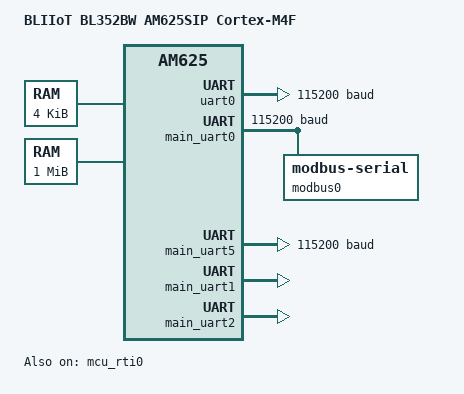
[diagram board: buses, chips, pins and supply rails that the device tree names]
/*
 * Copyright (c) 2026 Chrispine Tinega <chrispinetinega@gmail.com>
 *
 * SPDX-License-Identifier: Apache-2.0
 */

/dts-v1/;

#include <ti/am62x_m4.dtsi>
#include "am62x_m4_bl350_am6234_m4-pinctrl.dtsi"

/ {
	model = "BLIIoT BL352BW AM625SIP Cortex-M4F";
	compatible = "bliiot,am62x-m4-bl350", "ti,am625";

	chosen {
		zephyr,sram       = &ddr1;
		zephyr,flash      = &ddr0;
		zephyr,console    = &uart0;
		zephyr,shell-uart = &uart0;
		zephyr,ipc_shm    = &ipc_carveout;
		zephyr,ipc        = &ipc0;
	};

	rsc_table: memory@9ce00000 {
		compatible = "zephyr,memory-region", "mmio-sram";
		reg = <0x9ce00000 DT_SIZE_K(4)>;
		zephyr,memory-region = "RSC_TABLE";
	};

	ddr0: memory@9ce01000 {
		compatible = "mmio-sram";
		reg = <0x9ce01000 (DT_SIZE_M(1) - DT_SIZE_K(4))>;
	};

	ddr1: memory@9cf00000 {
		compatible = "mmio-sram";
		reg = <0x9cf00000 DT_SIZE_M(1)>;
	};

	reserved-memory {
		#address-cells = <1>;
		#size-cells = <1>;
		ranges;

		ipc_carveout: ipc@9c800000 {
			compatible = "shared-dma-pool";
			reg = <0x9C800000 0x400000>; /* 4 MB */
			no-map;
		};

		m4f-trace@9cc00000 {
			reg = <0x9CC00000 0x100000>; /* 1 MB */
			no-map;
		};
	};

	ipc0: ipc {
		compatible = "zephyr,ipc-openamp-static-vrings";
		memory-region = <&ipc_carveout>;
		mboxes = <&mbox0 0>, <&mbox0 1>;
		mbox-names = "tx", "rx";
		role = "remote";
		status = "okay";
	};

	soc {
		compatible = "simple-bus";
		#address-cells = <1>;
		#size-cells = <1>;
		ranges;

		mcu_mcan0: can@4e08000 {
			compatible = "bosch,m_can";
			reg = <0x04e08000 0x200>, <0x04e00000 0x8000>;
			reg-names = "m_can", "message_ram";
			interrupts = <18 0>, <19 0>;
			interrupt-names = "int0", "int1";
			clocks = <&k3_clks>;
			bus-speed = <500000>;
			bus-speed-data = <2000000>;
			status = "disabled";
		};

		mcu_mcan1: can@4e18000 {
			compatible = "bosch,m_can";
			reg = <0x04e18000 0x200>, <0x04e10000 0x8000>;
			reg-names = "m_can", "message_ram";
			interrupts = <20 0>, <21 0>;
			interrupt-names = "int0", "int1";
			clocks = <&k3_clks>;
			bus-speed = <500000>;
			bus-speed-data = <2000000>;
			status = "disabled";
		};
	};

	/* Placeholder clock for CAN FD bit timing — replaced by real TI K3 clock driver */
	k3_clks: dummy-clks {
		compatible = "fixed-clock";
		#clock-cells = <0>;
		clock-frequency = <48000000>;
	};
};

&uart0 {
	current-speed = <115200>;
	pinctrl-0 = <&mcu_uart0_rx_default &mcu_uart0_tx_default>;
	pinctrl-names = "default";
	status = "okay";
};

&main_uart0 {
	compatible = "ns16550";
	current-speed = <115200>;
	status = "okay";
	interrupts = <20 0>;
	interrupt-parent = <&nvic>;

	modbus0: modbus0 {
		compatible = "zephyr,modbus-serial";
		status = "okay";
	};
};

&main_uart5 {
	compatible = "ns16550";
	current-speed = <115200>;
	status = "okay";
	interrupts = <21 0>;
	interrupt-parent = <&nvic>;
};

&mbox0 {
	status = "okay";
};

/* Provide standard labels expected by the BL350 EMS application overlay */
can0: &mcu_mcan0 {};
can1: &mcu_mcan1 {};

uart1: &main_uart1 {
	compatible = "ns16550";
	status = "okay";
	interrupts = <22 0>;
	interrupt-parent = <&nvic>;
};

uart2: &main_uart2 {
	compatible = "ns16550";
	status = "okay";
	interrupts = <23 0>;
	interrupt-parent = <&nvic>;
};

gpio1: &main_gpio1 {
	status = "okay";
	interrupts = <24 0>;
	interrupt-parent = <&nvic>;
};

&mcu_rti0 {
	status = "okay";
};
